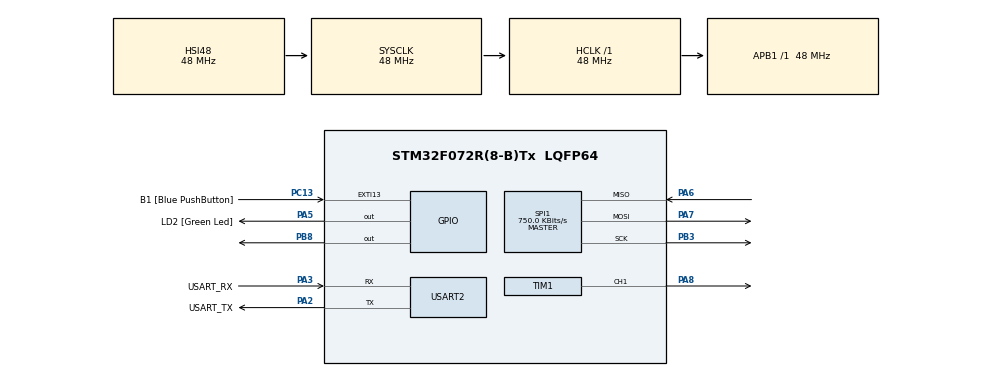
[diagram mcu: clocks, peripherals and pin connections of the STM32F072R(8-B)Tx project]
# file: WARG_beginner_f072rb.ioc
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Mcu.Family=STM32F0
Mcu.Name=STM32F072R(8-B)Tx
Mcu.Package=LQFP64
NVIC.TIM1_BRK_UP_TRG_COM_IRQn=true\:0\:0\:false\:false\:true\:true\:true\:true
NVIC.TIM1_CC_IRQn=true\:0\:0\:false\:false\:true\:true\:true\:true
PA13.GPIO_Label=TMS
PA13.Mode=Serial_Wire
PA13.Signal=SYS_SWDIO
PA14.GPIO_Label=TCK
PA14.Mode=Serial_Wire
PA14.Signal=SYS_SWCLK
PA2.GPIO_Label=USART_TX
PA2.GPIO_Mode=GPIO_MODE_AF_PP
PA2.GPIO_PuPd=GPIO_NOPULL
PA2.GPIO_Speed=GPIO_SPEED_FREQ_LOW
PA2.Mode=Asynchronous
PA2.Signal=USART2_TX
PA3.GPIO_Label=USART_RX
PA3.GPIO_Mode=GPIO_MODE_AF_PP
PA3.GPIO_PuPd=GPIO_NOPULL
PA3.GPIO_Speed=GPIO_SPEED_FREQ_LOW
PA3.Mode=Asynchronous
PA3.Signal=USART2_RX
PA5.GPIO_Label=LD2 [Green Led]
PA5.GPIO_Mode=GPIO_MODE_OUTPUT_PP
PA5.GPIO_PuPd=GPIO_NOPULL
PA5.GPIO_Speed=GPIO_SPEED_FREQ_LOW
PA5.Signal=GPIO_Output
PA6.Mode=Full_Duplex_Master
PA6.Signal=SPI1_MISO
PA7.Mode=Full_Duplex_Master
PA7.Signal=SPI1_MOSI
PA8.Signal=S_TIM1_CH1
PB3.Mode=Full_Duplex_Master
PB3.Signal=SPI1_SCK
PB8.Signal=GPIO_Output
PC13.GPIO_Label=B1 [Blue PushButton]
PC13.GPIO_ModeDefaultEXTI=GPIO_MODE_IT_FALLING
PC13.Signal=GPXTI13
PC14-OSC32_IN.Mode=LSE-External-Oscillator
PC14-OSC32_IN.Signal=RCC_OSC32_IN
PC15-OSC32_OUT.Mode=LSE-External-Oscillator
PC15-OSC32_OUT.Signal=RCC_OSC32_OUT
PF0-OSC_IN.Mode=HSE-External-Clock-Source
PF0-OSC_IN.Signal=RCC_OSC_IN
PF1-OSC_OUT.Signal=RCC_OSC_OUT
ProjectManager.HeapSize=0x200
ProjectManager.StackSize=0x400
ProjectManager.TargetToolchain=STM32CubeIDE
RCC.AHBFreq_Value=48000000
RCC.APB1Freq_Value=48000000
RCC.APB1TimFreq_Value=48000000
RCC.FLatency-AdvancedSettings=FLASH_LATENCY_1
RCC.HCLKFreq_Value=48000000
RCC.PLLDivider=RCC_PREDIV_DIV2
RCC.PLLMUL=RCC_PLL_MUL12
RCC.PREFETCH_ENABLE-AdvancedSettings=1
RCC.SYSCLKFreq_VALUE=48000000
RCC.SYSCLKSource=RCC_SYSCLKSOURCE_HSI48
SH.S_TIM1_CH1.0=TIM1_CH1,PWM Generation1 CH1
SPI1.BaudRatePrescaler=SPI_BAUDRATEPRESCALER_64
SPI1.CLKPolarity=SPI_POLARITY_HIGH
SPI1.CalculateBaudRate=750.0 KBits/s
SPI1.DataSize=SPI_DATASIZE_8BIT
SPI1.Direction=SPI_DIRECTION_2LINES
SPI1.Mode=SPI_MODE_MASTER
SPI1.VirtualType=VM_MASTER
TIM1.Channel-PWM\ Generation1\ CH1=TIM_CHANNEL_1
TIM1.ClockDivision=TIM_CLOCKDIVISION_DIV1
TIM1.Period=64000
TIM1.Prescaler=14
TIM1.Pulse-PWM\ Generation1\ CH1=4800
USART2.VirtualMode=VM_ASYNC
USART2.VirtualMode-Asynchronous=VM_ASYNC
VP_TIM1_VS_ClockSourceINT.Mode=Internal
board=NUCLEO-F072RB

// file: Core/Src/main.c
/* USER CODE BEGIN Header */
/**
  ******************************************************************************
  * @file           : main.c
  * @brief          : Main program body
  ******************************************************************************
  * @attention
  *
  * <h2><center>&copy; Copyright (c) 2021 STMicroelectronics.
  * All rights reserved.</center></h2>
  *
  * This software component is licensed by ST under BSD 3-Clause license,
  * the "License"; You may not use this file except in compliance with the
  * License. You may obtain a copy of the License at:
  *                        opensource.org/licenses/BSD-3-Clause
  *
  ******************************************************************************
  */
/* USER CODE END Header */
#include "main.h"
#include "spi.h"
#include "tim.h"
#include "usart.h"
#include "gpio.h"

/* USER CODE BEGIN Includes */
#include "stm32f0xx_ll_tim.h"
#include "stm32f0xx_hal_tim.h"

/* USER CODE END Includes */

/* USER CODE BEGIN PV */
uint32_t PULSE_TICKS = 0; // initialization

/* USER CODE END PV */

void SystemClock_Config(void);

int main(void)
{

  /* MCU Configuration--------------------------------------------------------*/

  /* Reset of all peripherals, Initializes the Flash interface and the Systick. */
  HAL_Init();

  /* Configure the system clock */
  SystemClock_Config();

  /* Initialize all configured peripherals */
  MX_GPIO_Init();
  MX_USART2_UART_Init();
  MX_SPI1_Init();
  MX_TIM1_Init();
  /* USER CODE BEGIN 2 */
  HAL_TIM_PWM_Start(&htim1, TIM_CHANNEL_1); //Regular PWM start
  HAL_GPIO_WritePin(GPIOB, GPIO_PIN_8, GPIO_PIN_SET); //Set up CS to be high by default
  uint16_t ADC_READ_IN = 0;
  uint8_t SPI_Tx_Buffer[3] = {0x01, 0x80, 0x00};
  uint8_t SPI_Rx_Buffer[3] = {0, 0, 0};
  uint16_t COUNTER_PERIOD = __HAL_TIM_GET_AUTORELOAD(&htim1);
  uint32_t PULSE_TICKS = COUNTER_PERIOD / 20; // initialization

  /* USER CODE END 2 */

  /* Infinite loop */
  /* USER CODE BEGIN WHILE */
  while (1)
  {
	  //Receive from SPI using standard HAL function
	  HAL_GPIO_WritePin(GPIOB, GPIO_PIN_8, GPIO_PIN_SET); //Set up CS low for SPI CS activation of ADC chip
	  HAL_SPI_TransmitReceive(&hspi1, SPI_Tx_Buffer, SPI_Rx_Buffer, 3, 10);
	  HAL_GPIO_WritePin(GPIOB, GPIO_PIN_8, GPIO_PIN_RESET); //Set up CS high to deactivate SPI CS activation
	  //there are ten bits of data, two in the middle uint_8 and eight in the last u_int8
	  ADC_READ_IN = (SPI_Rx_Buffer[1] << 8) & SPI_Rx_Buffer[2]; //MSB format, with MSB in bit 16 and LSB in bit 23
	  	  	  	  	  	  	  	  	  	  	  	  	  	  	  	  	   //Bitwise operations to obtain final answer
	  //MAX_SIZE of ADC_READ_IN by data sheet is 1024

	  // change pulse length as needed
	  //Set from 5- 10% based off of counter division time, which is retrieved via the auto_reload function
	  //NOT really sure you can command a 5% pulse rate without forcing "magic numbers", as
	  //at the end of the day the pulse variable IS a magic number
	  //Eliminates the need for formula, it's a ratio from 0-1 based on the counter period
	  //added on to the minimum base rate of 5%
	  PULSE_TICKS = ((COUNTER_PERIOD / 1024) * ADC_READ_IN + COUNTER_PERIOD) / 20;

	  //Function pulled from hal_tim.h to modify pulse rate
	  //Static type cast to help with comaptibility for board, which is 16-bit
	  __HAL_TIM_SET_COUNTER(&htim1, (uint16_t)PULSE_TICKS);

	  HAL_Delay(10);
    /* USER CODE END WHILE */

    /* USER CODE BEGIN 3 */
  }

  HAL_TIM_PWM_Stop(&htim1, TIM_CHANNEL_1);
  /* USER CODE END 3 */
}

void SystemClock_Config(void)
{
  RCC_OscInitTypeDef RCC_OscInitStruct = {0};
  RCC_ClkInitTypeDef RCC_ClkInitStruct = {0};
  RCC_PeriphCLKInitTypeDef PeriphClkInit = {0};

  /** Initializes the RCC Oscillators according to the specified parameters
  * in the RCC_OscInitTypeDef structure.
  */
  RCC_OscInitStruct.OscillatorType = RCC_OSCILLATORTYPE_HSI48;
  RCC_OscInitStruct.HSI48State = RCC_HSI48_ON;
  RCC_OscInitStruct.PLL.PLLState = RCC_PLL_NONE;
  if (HAL_RCC_OscConfig(&RCC_OscInitStruct) != HAL_OK)
  {
    Error_Handler();
  }

  /** Initializes the CPU, AHB and APB buses clocks
  */
  RCC_ClkInitStruct.ClockType = RCC_CLOCKTYPE_HCLK|RCC_CLOCKTYPE_SYSCLK
                              |RCC_CLOCKTYPE_PCLK1;
  RCC_ClkInitStruct.SYSCLKSource = RCC_SYSCLKSOURCE_HSI48;
  RCC_ClkInitStruct.AHBCLKDivider = RCC_SYSCLK_DIV1;
  RCC_ClkInitStruct.APB1CLKDivider = RCC_HCLK_DIV1;

  if (HAL_RCC_ClockConfig(&RCC_ClkInitStruct, FLASH_LATENCY_1) != HAL_OK)
  {
    Error_Handler();
  }
  PeriphClkInit.PeriphClockSelection = RCC_PERIPHCLK_USART2;
  PeriphClkInit.Usart2ClockSelection = RCC_USART2CLKSOURCE_PCLK1;
  if (HAL_RCCEx_PeriphCLKConfig(&PeriphClkInit) != HAL_OK)
  {
    Error_Handler();
  }
}

void Error_Handler(void)
{
  __disable_irq();
  while (1)
  {
  }
}
